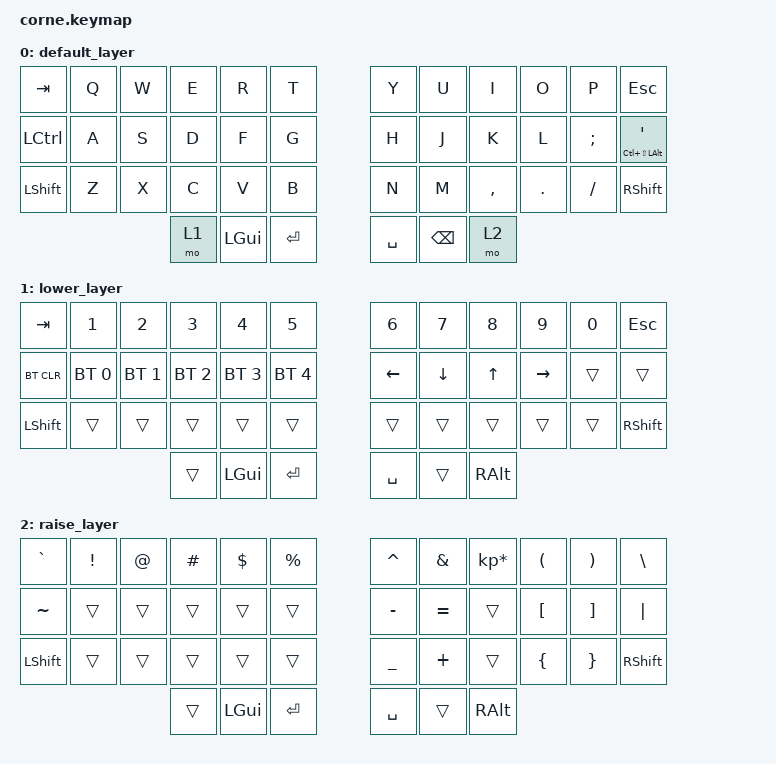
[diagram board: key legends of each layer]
/*
 * Copyright (c) 2020 The ZMK Contributors
 *
 * SPDX-License-Identifier: MIT
 */

#include <behaviors.dtsi>
#include <dt-bindings/zmk/keys.h>
#include <dt-bindings/zmk/bt.h>

/ {
        behaviors {
          tp: tap_preferred {
            compatible = "zmk,behavior-hold-tap";
            label = "TAP_PREFERRED";
            #binding-cells = <2>;
            tapping-term-ms = <150>;
            quick-tap-ms = <0>;
            flavor = "tap-preferred";
            bindings = <&kp>, <&kp>;
          }; 
        };

        keymap {
                compatible = "zmk,keymap";

                default_layer {
// -------------------------------------------------------------------------------------------------------
// |  TAB |  Q  |  W  |  E  |  R  |  T  |       |  Y  |   U  |     I    |     O    |     P    |   ESC    |
// | CTRL |  A  |  S  |  D  |  F  |  G  |       |  H  |   J  |     K    |     L    |  ; or :  |  ' or "  |
// | SHFT |  Z  |  X  |  C  |  V  |  B  |       |  N  |   M  |  , or <  |  . or >  |  / or ?  |   SHFT   |
//                    | LWR | CMD | ENT |       | SPC | BKSP | RSE  |
                        bindings = <
   &kp TAB     &kp Q &kp W   &kp E     &kp R       &kp T                 &kp Y       &kp U      &kp I       &kp O     &kp P      &kp ESC
   &kp LCTRL   &kp A &kp S   &kp D     &kp F       &kp G                 &kp H       &kp J      &kp K       &kp L     &kp SEMI   &tp LC(LS(LALT)) SQT
   &kp LSHFT   &kp Z &kp X   &kp C     &kp V       &kp B                 &kp N       &kp M      &kp COMMA   &kp DOT   &kp FSLH   &kp RSHFT
                             &mo 1     &kp LGUI    &kp RET               &kp SPACE   &kp BSPC   &mo 2
                        >;
                };
                
                lower_layer {
// ------------------------------------------------------------------------------------
// |  TAB  |  1  |  2  |  3  |  4  |  5  |       |  6  |  7  |  8  |  9  |  0  | ESC  |
// | BTCLR | BT1 | BT2 | BT3 | BT4 | BT5 |       | LFT | DWN |  UP | RGT |     |      |
// | SHFT  |     |     |     |     |     |       |     |     |     |     |     | SHFT |
//                     |     | CMD | ENT |       | SPC |     | ALT |
                        bindings = <
   &kp TAB      &kp N1         &kp N2         &kp N3         &kp N4                  &kp N5            &kp N6     &kp N7     &kp N8   &kp N9      &kp N0   &kp ESC
   &bt BT_CLR   &bt BT_SEL 0   &bt BT_SEL 1   &bt BT_SEL 2   &bt BT_SEL 3            &bt BT_SEL 4      &kp LEFT   &kp DOWN   &kp UP   &kp RIGHT   &trans   &trans
   &kp LSHFT    &trans         &trans         &trans         &trans                  &trans            &trans     &trans     &trans   &trans      &trans   &kp RSHFT
                               &trans         &kp LGUI       &kp RET                 &kp SPACE         &trans     &kp RALT
                        >;
                };

                raise_layer {
// ------------------------------------------------------------------------------------
// |  `   |  !  |  @  |  #  |  $  |  %  |       |  ^  |  &  |  *  |  (  |  )  |   \   |
// |  ~   |     |     |     |     |     |       |  -  |  =  |     |  [  |  ]  |  "|"  |    
// | SHFT |     |     |     |     |     |       |  _  |  +  |     |  {  |  }  | RSHFT |
//                    |     | CMD | ENT |       | SPC |     | ALT |
                        bindings = <
   &kp GRAVE   &kp EXCL   &kp AT   &kp HASH   &kp DLLR   &kp PRCNT              &kp CARET   &kp AMPS    &kp KP_MULTIPLY   &kp LPAR   &kp RPAR   &kp BSLH
   &kp TILDE   &trans     &trans   &trans     &trans     &trans                 &kp MINUS   &kp EQUAL   &trans            &kp LBKT   &kp RBKT   &kp PIPE
   &kp LSHFT   &trans     &trans   &trans     &trans     &trans                 &kp UNDER   &kp PLUS    &trans            &kp LBRC   &kp RBRC   &kp RSHFT
                                   &trans     &kp LGUI   &kp RET                &kp SPACE   &trans      &kp RALT
                        >;
                };
        };
};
